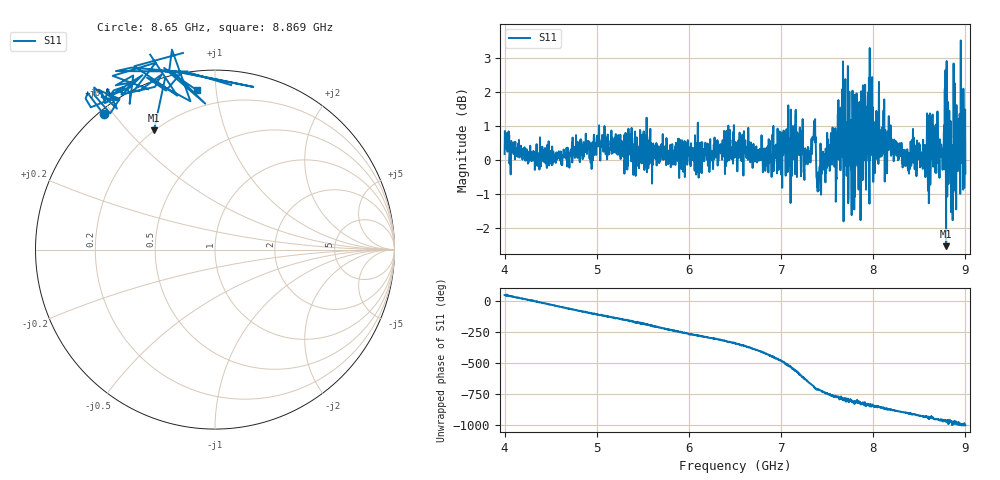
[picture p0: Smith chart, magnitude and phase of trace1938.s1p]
! Created with skrf 1.8.0 (http://scikit-rf.org).
# Hz S RI R 50.0
!freq ReS11 ImS11
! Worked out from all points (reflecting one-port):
!   1601 points, 4 GHz to 9 GHz, reference 50 ohm
!   lowest |S11| = -2.5 dB at 8.791 GHz (marker M1), VSWR 6.89, Z = 9.9 + j29.7 ohm
!   phase of S11 starts at 49 deg and turns -1053 deg over the sweep
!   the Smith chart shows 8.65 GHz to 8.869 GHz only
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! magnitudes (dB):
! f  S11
! 4 GHz  0.2
! 4.625 GHz  -0.2
! 5.25 GHz  0.1
! 5.875 GHz  0.1
! 6.5 GHz  0.4
! 6.825 GHz  0.2
! 7.125 GHz  0.4
! 7.209 GHz  0.5
! 7.262 GHz  0.3
! 7.353 GHz  0.7
! 7.409 GHz  -0.7
! 7.525 GHz  0.1
! 7.588 GHz  0.9
! 7.647 GHz  0.6
! 7.75 GHz  0.7
! 7.784 GHz  -1.1
! 7.834 GHz  0.9
! 7.962 GHz  3.3
! 7.981 GHz  0.6
! 8.375 GHz  -0.3
! 8.612 GHz  0.3
! 8.634 GHz  0.1
! 8.738 GHz  0.4
! 8.791 GHz  -2.5
! 8.819 GHz  -0.1
! 8.844 GHz  -1.5
! 8.972 GHz  0.7
! 9 GHz  -0.4
